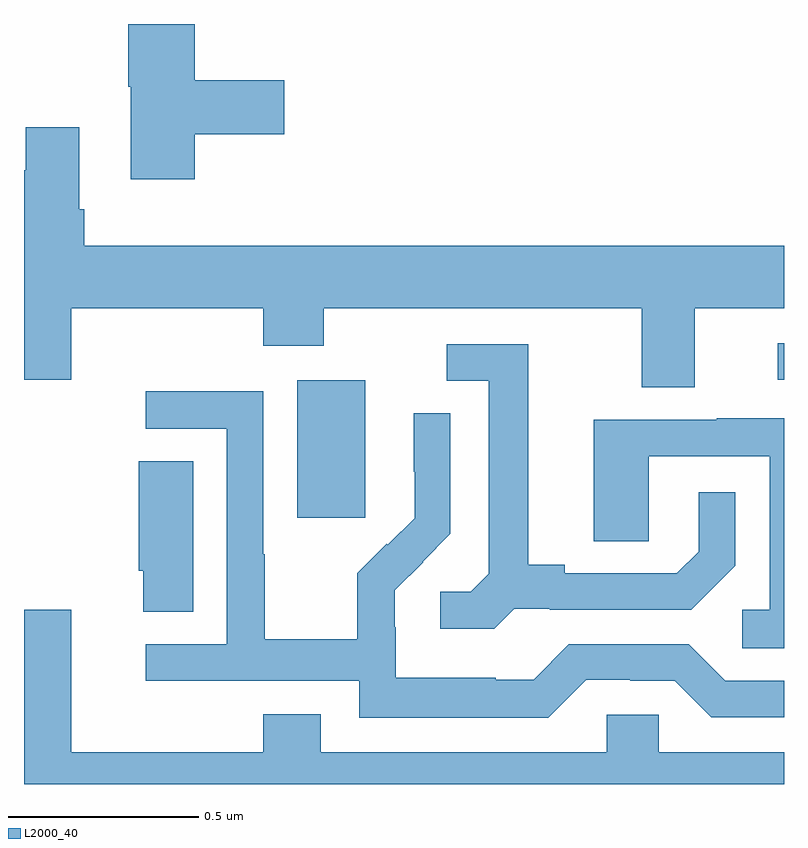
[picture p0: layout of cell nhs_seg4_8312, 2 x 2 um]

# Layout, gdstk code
import gdstk
lib = gdstk.Library(unit=1e-6, precision=1e-09)
def R(c, l, rs):  # rectangles x0, y0, x1, y1
    for r in rs: c.add(gdstk.rectangle(r[:2], r[2:], *l))
def P(c, l, *ps):  # polygons
    for p in ps: c.add(gdstk.Polygon(p, *l))
L2000_40 = (2000, 40)

nhs_seg4_8312 = lib.new_cell('nhs_seg4_8312')
R(nhs_seg4_8312, L2000_40, [(213.719,797.601,213.898,797.962), (214.983,797.964,215,798.06)])
P(nhs_seg4_8312, L2000_40, [(213.449,798.61),(213.685,798.61),(213.685,798.752),(213.449,798.752),(213.449,798.9),(213.274,798.9),(213.274,798.735),(213.281,798.735),(213.281,798.492),(213.449,798.492)],
  [(214.765,798.152),(215,798.152),(215,798.316),(213.158,798.316),(213.158,798.412),(213.145,798.412),(213.145,798.628),(213.005,798.628),(213.005,798.515),(213,798.515),(213,797.964),(213.124,797.964),(213.124,798.152),(213.629,798.152),(213.629,798.053),(213.789,798.053),(213.789,798.152),(214.625,798.152),(214.625,797.944),(214.765,797.944)],
  [(214.29,797.361),(214.384,797.361),(214.384,797.358),(214.756,797.358),(214.872,797.474),(214.872,797.668),(214.775,797.668),(214.775,797.511),(214.718,797.454),(214.423,797.454),(214.423,797.477),(214.327,797.477),(214.327,798.057),(214.113,798.057),(214.113,797.961),(214.223,797.961),(214.223,797.453),(214.176,797.406),(214.095,797.406),(214.095,797.309),(214.238,797.309)],
  [(214.479,797.175),(214.595,797.175),(214.595,797.172),(214.713,797.172),(214.809,797.076),(215,797.076),(215,797.172),(214.845,797.172),(214.749,797.268),(214.434,797.268),(214.341,797.175),(214.241,797.175),(214.241,797.179),(213.978,797.179),(213.978,797.313),(213.976,797.313),(213.976,797.41),(214.05,797.484),(214.049,797.485),(214.122,797.558),(214.122,797.876),(214.026,797.876),(214.026,797.722),(214.028,797.722),(214.028,797.6),(213.957,797.529),(213.954,797.532),(213.877,797.455),(213.877,797.281),(213.633,797.281),(213.633,797.504),(213.63,797.504),(213.63,797.934),(213.321,797.934),(213.321,797.835),(213.534,797.835),(213.534,797.268),(213.321,797.268),(213.321,797.172),(213.882,797.172),(213.882,797.075),(214.379,797.075)],
  [(215,797.863),(214.823,797.863),(214.823,797.859),(214.499,797.859),(214.499,797.539),(214.644,797.539),(214.644,797.763),(214.962,797.763),(214.962,797.358),(214.89,797.358),(214.89,797.257),(215,797.257)],
  [(213.445,797.75),(213.302,797.75),(213.302,797.461),(213.314,797.461),(213.314,797.353),(213.445,797.353)],
  [(215,796.984),(214.671,796.984),(214.671,797.082),(214.533,797.082),(214.533,796.984),(213.781,796.984),(213.781,797.083),(213.629,797.083),(213.629,796.984),(213.124,796.984),(213.124,797.359),(213,797.359),(213,796.9),(215,796.9)])

lib.write_gds('nhs_seg4_8312.gds')
